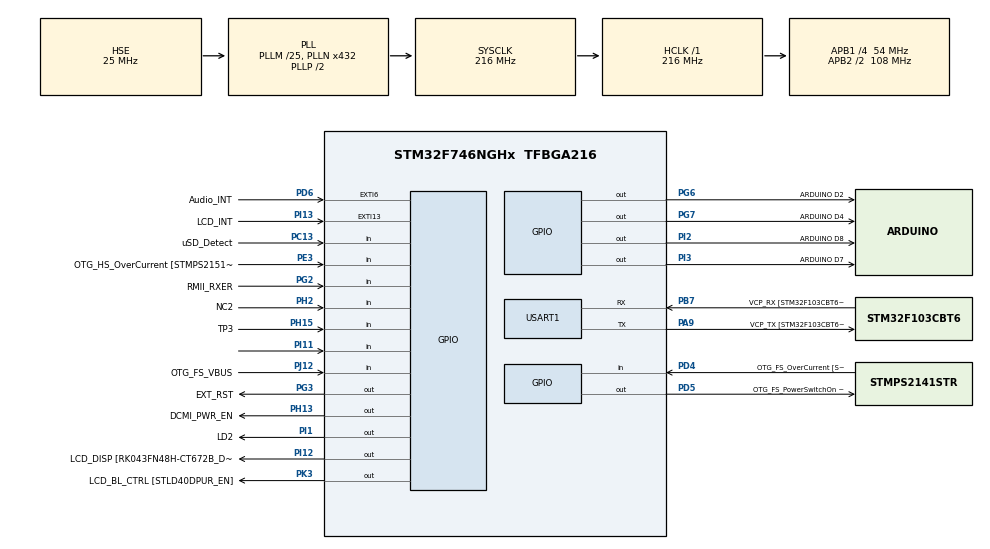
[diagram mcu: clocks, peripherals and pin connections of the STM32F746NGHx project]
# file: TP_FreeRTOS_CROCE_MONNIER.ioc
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FREERTOS.HEAP_NUMBER=4
FREERTOS.MEMORY_ALLOCATION=2
FREERTOS.Tasks01=defaultTask,0,128,StartDefaultTask,Default,NULL,Static,defaultTaskBuffer,defaultTaskControlBlock
FREERTOS.configLIBRARY_LOWEST_INTERRUPT_PRIORITY=5
FREERTOS.configTOTAL_HEAP_SIZE=160000
Mcu.Family=STM32F7
Mcu.Name=STM32F746NGHx
Mcu.Package=TFBGA216
NVIC.PriorityGroup=NVIC_PRIORITYGROUP_4
NVIC.USART1_IRQn=true\:5\:0\:true\:false\:true\:true\:true\:true\:true
PA0/WKUP.GPIO_Label=ARDUINO A0
PA0/WKUP.GPIO_Mode=GPIO_MODE_ANALOG
PA0/WKUP.GPIO_PuPd=GPIO_NOPULL
PA0/WKUP.Signal=ADCx_IN0
PA1.GPIO_Label=RMII_REF_CLK [LAN8742A-CZ-TR_REFCLK0]
PA1.Signal=ETH_REF_CLK
PA10.GPIO_Label=OTG_FS_ID
PA10.Signal=USB_OTG_FS_ID
PA11.GPIO_Label=OTG_FS_N
PA11.Signal=USB_OTG_FS_DM
PA12.GPIO_Label=OTG_FS_P
PA12.Signal=USB_OTG_FS_DP
PA13.GPIO_Label=SWDIO
PA13.Mode=Trace_Asynchronous_SW
PA13.Signal=SYS_JTMS-SWDIO
PA14.GPIO_Label=SWCLK
PA14.Mode=Trace_Asynchronous_SW
PA14.Signal=SYS_JTCK-SWCLK
PA15.GPIO_Label=ARDUINO PWM/D9
PA15.GPIO_ModeDefaultPP=GPIO_MODE_AF_PP
PA15.GPIO_PuPd=GPIO_NOPULL
PA15.GPIO_Speed=GPIO_SPEED_FREQ_LOW
PA15.Signal=S_TIM2_CH1_ETR
PA2.GPIO_Label=RMII_MDIO [LAN8742A-CZ-TR_MDIO]
PA2.Signal=ETH_MDIO
PA3.GPIO_Label=ULPI_D0 [USB3320C-EZK_D0]
PA3.Signal=USB_OTG_HS_ULPI_D0
PA4.GPIO_Label=DCMI_HSYNC
PA4.Signal=DCMI_HSYNC
PA5.GPIO_Label=ULPI_CLK [USB3320C-EZK_CLKOUT]
PA5.Signal=USB_OTG_HS_ULPI_CK
PA6.Signal=DCMI_PIXCLK
PA7.GPIO_Label=RMII_CRS_DV [LAN8742A-CZ-TR_CRS_DV]
PA7.Signal=ETH_CRS_DV
PA8.GPIO_Label=ARDUINO PWM/D10
PA8.GPIO_ModeDefaultPP=GPIO_MODE_AF_PP
PA8.GPIO_PuPd=GPIO_NOPULL
PA8.GPIO_Speed=GPIO_SPEED_FREQ_LOW
PA8.Signal=S_TIM1_CH1
PA9.GPIO_Label=VCP_TX [STM32F103CBT6_PA3]
PA9.GPIO_Mode=GPIO_MODE_AF_PP
PA9.GPIO_PuPd=GPIO_NOPULL
PA9.GPIO_Speed=GPIO_SPEED_FREQ_LOW
PA9.Mode=Asynchronous
PA9.Signal=USART1_TX
PB0.GPIO_Label=ULPI_D1 [USB3320C-EZK_D1]
PB0.Signal=USB_OTG_HS_ULPI_D1
PB1.GPIO_Label=ULPI_D2 [USB3320C-EZK_D2]
PB1.Signal=USB_OTG_HS_ULPI_D2
PB10.GPIO_Label=ULPI_D3 [USB3320C-EZK_D3]
PB10.Signal=USB_OTG_HS_ULPI_D3
PB11.GPIO_Label=ULPI_D4 [USB3320C-EZK_D4]
PB11.Signal=USB_OTG_HS_ULPI_D4
PB12.GPIO_Label=ULPI_D5 [USB3320C-EZK_D5]
PB12.Signal=USB_OTG_HS_ULPI_D5
PB13.GPIO_Label=ULPI_D6 [USB3320C-EZK_D6]
PB13.Signal=USB_OTG_HS_ULPI_D6
PB14.GPIO_Label=ARDUINO MISO/D12
PB14.GPIO_Mode=GPIO_MODE_AF_PP
PB14.GPIO_PuPd=GPIO_NOPULL
PB14.GPIO_Speed=GPIO_SPEED_FREQ_LOW
PB14.Signal=SPI2_MISO
PB15.GPIO_Label=ARDUINO MOSI/PWM/D11
PB15.GPIO_Mode=GPIO_MODE_AF_PP
PB15.GPIO_PuPd=GPIO_NOPULL
PB15.GPIO_Speed=GPIO_SPEED_FREQ_LOW
PB15.Signal=SPI2_MOSI
PB2.Signal=QUADSPI_CLK
PB3.GPIO_Label=SWO
PB3.Mode=Trace_Asynchronous_SW
PB3.Signal=SYS_JTDO-SWO
PB4.GPIO_Label=ARDUINO PWM/D3
PB4.GPIO_ModeDefaultPP=GPIO_MODE_AF_PP
PB4.GPIO_PuPd=GPIO_NOPULL
PB4.GPIO_Speed=GPIO_SPEED_FREQ_LOW
PB4.Signal=S_TIM3_CH1
PB5.GPIO_Label=ULPI_D7 [USB3320C-EZK_D7]
PB5.Signal=USB_OTG_HS_ULPI_D7
PB6.GPIO_Label=QSPI_NCS [N25Q128A13EF840E_S]
PB6.Signal=QUADSPI_BK1_NCS
PB7.GPIO_Label=VCP_RX [STM32F103CBT6_PA2]
PB7.GPIO_Mode=GPIO_MODE_AF_PP
PB7.GPIO_PuPd=GPIO_NOPULL
PB7.GPIO_Speed=GPIO_SPEED_FREQ_LOW
PB7.Mode=Asynchronous
PB7.Signal=USART1_RX
PB8.GPIO_Label=ARDUINO SCL/D15
PB8.GPIO_Mode=GPIO_MODE_AF_OD
PB8.GPIO_PuPd=GPIO_NOPULL
PB8.GPIO_Speed=GPIO_SPEED_FREQ_LOW
PB8.Signal=I2C1_SCL
PB9.GPIO_Label=ARDUINO SDA/D14
PB9.GPIO_Mode=GPIO_MODE_AF_OD
PB9.GPIO_PuPd=GPIO_NOPULL
PB9.GPIO_Speed=GPIO_SPEED_FREQ_LOW
PB9.Signal=I2C1_SDA
PC0.GPIO_Label=ULPI_STP [USB3320C-EZK_STP]
PC0.Signal=USB_OTG_HS_ULPI_STP
PC1.GPIO_Label=RMII_MDC [LAN8742A-CZ-TR_MDC]
PC1.Signal=ETH_MDC
PC10.GPIO_Label=SDMMC_D2
PC10.Signal=SDMMC1_D2
PC11.GPIO_Label=SDMMC_D3
PC11.Signal=SDMMC1_D3
PC12.GPIO_Label=SDMMC_CK
PC12.Signal=SDMMC1_CK
PC13.GPIO_Label=uSD_Detect
PC13.Signal=GPIO_Input
PC14/OSC32_IN.GPIO_Label=RCC_OSC32_IN
PC14/OSC32_IN.Signal=RCC_OSC32_IN
PC15/OSC32_OUT.GPIO_Label=RCC_OSC32_OUT
PC15/OSC32_OUT.Signal=RCC_OSC32_OUT
PC2.GPIO_Label=ULPI_DIR [USB3320C-EZK_DIR]
PC2.Signal=USB_OTG_HS_ULPI_DIR
PC3.GPIO_Label=FMC_SDCKE0 [MT48LC4M32B2B5-6A_CKE]
PC3.Signal=FMC_SDCKE0
PC4.GPIO_Label=RMII_RXD0 [LAN8742A-CZ-TR_RXD0]
PC4.Signal=ETH_RXD0
PC5.GPIO_Label=RMII_RXD1 [LAN8742A-CZ-TR_RXD1]
PC5.Signal=ETH_RXD1
PC6.GPIO_Label=ARDUINO TX/D1
PC6.Signal=USART6_TX
PC7.GPIO_Label=ARDUINO RX/D0
PC7.Signal=USART6_RX
PC8.Signal=SDMMC1_D0
PC9.Signal=SDMMC1_D1
PD0.GPIO_Label=FMC_D2 [MT48LC4M32B2B5-6A_DQ2]
PD0.Signal=FMC_D2_DA2
PD1.GPIO_Label=FMC_D3 [MT48LC4M32B2B5-6A_DQ3]
PD1.Signal=FMC_D3_DA3
PD10.GPIO_Label=FMC_D15 [MT48LC4M32B2B5-6A_DQ15]
PD10.Signal=FMC_D15_DA15
PD11.GPIO_Label=QSPI_D0 [N25Q128A13EF840E_DQ0]
PD11.Signal=QUADSPI_BK1_IO0
PD12.GPIO_Label=QSPI_D1 [N25Q128A13EF840E_DQ1]
PD12.Signal=QUADSPI_BK1_IO1
PD13.GPIO_Label=QSPI_D3 [N25Q128A13EF840E_DQ3]
PD13.Signal=QUADSPI_BK1_IO3
PD14.GPIO_Label=FMC_D0 [MT48LC4M32B2B5-6A_DQ0]
PD14.Signal=FMC_D0_DA0
PD15.GPIO_Label=FMC_D1 [MT48LC4M32B2B5-6A_DQ1]
PD15.Signal=FMC_D1_DA1
PD2.GPIO_Label=SDMMC_D0
PD2.Signal=SDMMC1_CMD
PD3.GPIO_Label=DCMI_D5
PD3.Signal=DCMI_D5
PD4.GPIO_Label=OTG_FS_OverCurrent [STMPS2141STR_Fault]
PD4.Signal=GPIO_Input
PD5.GPIO_Label=OTG_FS_PowerSwitchOn [STMPS2141STR_EN]
PD5.PinState=GPIO_PIN_SET
PD5.Signal=GPIO_Output
PD6.GPIO_Label=Audio_INT
PD6.GPIO_ModeDefaultEXTI=GPIO_MODE_EVT_RISING
PD6.Signal=GPXTI6
PD7.GPIO_Label=SPDIF_RX0 [74LVC1G04SE_4]
PD7.Signal=SPDIFRX_IN0
PD8.GPIO_Label=FMC_D13 [MT48LC4M32B2B5-6A_DQ13]
PD8.Signal=FMC_D13_DA13
PD9.GPIO_Label=FMC_D14 [MT48LC4M32B2B5-6A_DQ14]
PD9.Signal=FMC_D14_DA14
PE0.GPIO_Label=FMC_NBL0 [MT48LC4M32B2B5-6A_DQM0]
PE0.Signal=FMC_NBL0
PE1.GPIO_Label=FMC_NBL1 [MT48LC4M32B2B5-6A_DQM1]
PE1.Signal=FMC_NBL1
PE10.GPIO_Label=FMC_D7 [MT48LC4M32B2B5-6A_DQ7]
PE10.Signal=FMC_D7_DA7
PE11.GPIO_Label=FMC_D8 [MT48LC4M32B2B5-6A_DQ8]
PE11.Signal=FMC_D8_DA8
PE12.GPIO_Label=FMC_D9 [MT48LC4M32B2B5-6A_DQ9]
PE12.Signal=FMC_D9_DA9
PE13.GPIO_Label=FMC_D10 [MT48LC4M32B2B5-6A_DQ10]
PE13.Signal=FMC_D10_DA10
PE14.GPIO_Label=FMC_D11 [MT48LC4M32B2B5-6A_DQ11]
PE14.Signal=FMC_D11_DA11
PE15.GPIO_Label=FMC_D12 [MT48LC4M32B2B5-6A_DQ12]
PE15.Signal=FMC_D12_DA12
PE2.GPIO_Label=QSPI_D2 [N25Q128A13EF840E_DQ2]
PE2.Signal=QUADSPI_BK1_IO2
PE3.GPIO_Label=OTG_HS_OverCurrent [STMPS2151STR_FAULT]
PE3.Signal=GPIO_Input
PE4.GPIO_Label=LCD_B0 [RK043FN48H-CT672B_B0]
PE4.Signal=LTDC_B0
PE5.GPIO_Label=DCMI_D6
PE5.Signal=DCMI_D6
PE6.GPIO_Label=DCMI_D7
PE6.Signal=DCMI_D7
PE7.GPIO_Label=FMC_D4 [MT48LC4M32B2B5-6A_DQ4]
PE7.Signal=FMC_D4_DA4
PE8.GPIO_Label=FMC_D5 [MT48LC4M32B2B5-6A_DQ5]
PE8.Signal=FMC_D5_DA5
PE9.GPIO_Label=FMC_D6 [MT48LC4M32B2B5-6A_DQ6]
PE9.Signal=FMC_D6_DA6
PF0.GPIO_Label=FMC_A0 [MT48LC4M32B2B5-6A_A0]
PF0.Signal=FMC_A0
PF1.GPIO_Label=FMC_A1 [MT48LC4M32B2B5-6A_A1]
PF1.Signal=FMC_A1
PF10.GPIO_Label=ARDUINO A1
PF10.GPIO_Mode=GPIO_MODE_ANALOG
PF10.GPIO_PuPd=GPIO_NOPULL
PF10.Signal=ADC3_IN8
PF11.GPIO_Label=FMC_SDNRAS [MT48LC4M32B2B5-6A_RAS]
PF11.Signal=FMC_SDNRAS
PF12.GPIO_Label=FMC_A6 [MT48LC4M32B2B5-6A_A6]
PF12.Signal=FMC_A6
PF13.GPIO_Label=FMC_A7 [MT48LC4M32B2B5-6A_A7]
PF13.Signal=FMC_A7
PF14.GPIO_Label=FMC_A8 [MT48LC4M32B2B5-6A_A8]
PF14.Signal=FMC_A8
PF15.GPIO_Label=FMC_A9 [MT48LC4M32B2B5-6A_A9]
PF15.Signal=FMC_A9
PF2.GPIO_Label=FMC_A2 [MT48LC4M32B2B5-6A_A2]
PF2.Signal=FMC_A2
PF3.GPIO_Label=FMC_A3 [MT48LC4M32B2B5-6A_A3]
PF3.Signal=FMC_A3
PF4.GPIO_Label=FMC_A4 [MT48LC4M32B2B5-6A_A4]
PF4.Signal=FMC_A4
PF5.GPIO_Label=FMC_A5 [MT48LC4M32B2B5-6A_A5]
PF5.Signal=FMC_A5
PF6.GPIO_Label=ARDUINO A5
PF6.GPIO_Mode=GPIO_MODE_ANALOG
PF6.GPIO_PuPd=GPIO_NOPULL
PF6.Signal=ADC3_IN4
PF7.GPIO_Label=ARDUINO A4
PF7.GPIO_Mode=GPIO_MODE_ANALOG
PF7.GPIO_PuPd=GPIO_NOPULL
PF7.Signal=ADC3_IN5
PF8.GPIO_Label=ARDUINO A3
PF8.GPIO_Mode=GPIO_MODE_ANALOG
PF8.GPIO_PuPd=GPIO_NOPULL
PF8.Signal=ADC3_IN6
PF9.GPIO_Label=ARDUINO A2
PF9.GPIO_Mode=GPIO_MODE_ANALOG
PF9.GPIO_PuPd=GPIO_NOPULL
PF9.Signal=ADC3_IN7
PG0.GPIO_Label=FMC_A10 [MT48LC4M32B2B5-6A_A10]
PG0.Signal=FMC_A10
PG1.GPIO_Label=FMC_A11 [MT48LC4M32B2B5-6A_A11]
PG1.Signal=FMC_A11
PG10.GPIO_Label=SAI2_SDB [WM8994ECS/R_ADCDAT1]
PG10.Signal=SAI2_SD_B
PG11.GPIO_Label=RMII_TX_EN [LAN8742A-CZ-TR_TXEN]
PG11.Signal=ETH_TX_EN
PG12.GPIO_Label=LCD_B4 [RK043FN48H-CT672B_B4]
PG12.Signal=LTDC_B4
PG13.GPIO_Label=RMII_TXD0 [LAN8742A-CZ-TR_TXD0]
PG13.Signal=ETH_TXD0
PG14.GPIO_Label=RMII_TXD1 [LAN8742A-CZ-TR_TXD1]
PG14.Signal=ETH_TXD1
PG15.GPIO_Label=FMC_SDNCAS [MT48LC4M32B2B5-6A_CAS]
PG15.Signal=FMC_SDNCAS
PG2.GPIO_Label=RMII_RXER
PG2.Signal=GPIO_Input
PG3.GPIO_Label=EXT_RST
PG3.Signal=GPIO_Output
PG4.GPIO_Label=FMC_BA0 [MT48LC4M32B2B5-6A_BA0]
PG4.Signal=FMC_A14_BA0
PG5.GPIO_Label=FMC_BA1 [MT48LC4M32B2B5-6A_BA1]
PG5.Signal=FMC_A15_BA1
PG6.GPIO_Label=ARDUINO D2
PG6.Signal=GPIO_Output
PG7.GPIO_Label=ARDUINO D4
PG7.Signal=GPIO_Output
PG8.GPIO_Label=FMC_SDCLK [MT48LC4M32B2B5-6A_CLK]
PG8.Signal=FMC_SDCLK
PG9.GPIO_Label=DCMI_VSYNC
PG9.Signal=DCMI_VSYNC
PH0/OSC_IN.GPIO_Label=OSC_25M [NZ2520SB-25.00M_OUT]
PH0/OSC_IN.Mode=HSE-External-Oscillator
PH0/OSC_IN.Signal=RCC_OSC_IN
PH1/OSC_OUT.Mode=HSE-External-Oscillator
PH1/OSC_OUT.Signal=RCC_OSC_OUT
PH10.GPIO_Label=DCMI_D1
PH10.Signal=DCMI_D1
PH11.GPIO_Label=DCMI_D2
PH11.Signal=DCMI_D2
PH12.GPIO_Label=DCMI_D3
PH12.Signal=DCMI_D3
PH13.GPIO_Label=DCMI_PWR_EN
PH13.Signal=GPIO_Output
PH14.GPIO_Label=DCMI_D4
PH14.Signal=DCMI_D4
PH15.GPIO_Label=TP3
PH15.Signal=GPIO_Input
PH2.GPIO_Label=NC2
PH2.Signal=GPIO_Input
PH3.GPIO_Label=FMC_SDNE0 [MT48LC4M32B2B5-6A_CS]
PH3.Signal=FMC_SDNE0
PH4.GPIO_Label=ULPI_NXT [USB3320C-EZK_NXT]
PH4.Signal=USB_OTG_HS_ULPI_NXT
PH5.GPIO_Label=FMC_SDNME [MT48LC4M32B2B5-6A_WE]
PH5.Signal=FMC_SDNWE
PH6.GPIO_Label=ARDUINO PWM/D6
PH6.Signal=S_TIM12_CH1
PH7.GPIO_Label=LCD_SCL [RK043FN48H-CT672B_SCL]
PH7.Signal=I2C3_SCL
PH8.GPIO_Label=LCD_SDA [RK043FN48H-CT672B_SDA]
PH8.Signal=I2C3_SDA
PH9.GPIO_Label=DCMI_D0
PH9.Signal=DCMI_D0
PI0.GPIO_Label=ARDUINO PWM/CS/D5
PI0.GPIO_ModeDefaultPP=GPIO_MODE_AF_PP
PI0.GPIO_PuPd=GPIO_NOPULL
PI0.GPIO_Speed=GPIO_SPEED_FREQ_LOW
PI0.Signal=S_TIM5_CH4
PI1.GPIO_Label=LD2
PI1.PinState=GPIO_PIN_SET
PI1.Signal=GPIO_Output
PI10.GPIO_Label=LCD_HSYNC [RK043FN48H-CT672B_HSYNC]
PI10.Signal=LTDC_HSYNC
PI11.Signal=GPIO_Input
PI12.GPIO_Label=LCD_DISP [RK043FN48H-CT672B_DISP] 
PI12.Signal=GPIO_Output
PI13.GPIO_Label=LCD_INT
PI13.GPIO_ModeDefaultEXTI=GPIO_MODE_EVT_RISING
PI13.Signal=GPXTI13
PI14.GPIO_Label=LCD_CLK [RK043FN48H-CT672B_CLK]
PI14.Signal=LTDC_CLK
PI15.GPIO_Label=LCD_R0 [RK043FN48H-CT672B_R0]
PI15.Signal=LTDC_R0
PI2.GPIO_Label=ARDUINO D8
PI2.Signal=GPIO_Output
PI3.GPIO_Label=ARDUINO D7
PI3.Signal=GPIO_Output
PI4.GPIO_Label=SAI2_MCLKA [WM8994ECS/R_MCLK1]
PI4.Signal=SAI2_MCLK_A
PI5.GPIO_Label=SAI2_SCKA [WM8994ECS/R_BCLK1]
PI5.Signal=SAI2_SCK_A
PI6.GPIO_Label=SAI2_SDA [WM8994ECS/R_DACDAT1]
PI6.Signal=SAI2_SD_A
PI7.GPIO_Label=SAI2_FSA [WM8994ECS/R_LRCLK1]
PI7.Signal=SAI2_FS_A
PI8.GPIO_Label=NC1 [TP2]
PI8.Signal=RTC_TS
PI9.GPIO_Label=LCD_VSYNC [RK043FN48H-CT672B_VSYNC]
PI9.Signal=LTDC_VSYNC
PJ0.GPIO_Label=LCD_R1 [RK043FN48H-CT672B_R1]
PJ0.Signal=LTDC_R1
PJ1.GPIO_Label=LCD_R2 [RK043FN48H-CT672B_R2]
PJ1.Signal=LTDC_R2
PJ10.GPIO_Label=LCD_G3 [RK043FN48H-CT672B_G3]
PJ10.Signal=LTDC_G3
PJ11.GPIO_Label=LCD_G4 [RK043FN48H-CT672B_G4]
PJ11.Signal=LTDC_G4
PJ12.GPIO_Label=OTG_FS_VBUS
PJ12.Signal=GPIO_Input
PJ13.GPIO_Label=LCD_B1 [RK043FN48H-CT672B_B1]
PJ13.Signal=LTDC_B1
PJ14.GPIO_Label=LCD_B2 [RK043FN48H-CT672B_B2]
PJ14.Signal=LTDC_B2
PJ15.GPIO_Label=LCD_B3 [RK043FN48H-CT672B_B3]
PJ15.Signal=LTDC_B3
PJ2.GPIO_Label=LCD_R3 [RK043FN48H-CT672B_R3]
PJ2.Signal=LTDC_R3
PJ3.GPIO_Label=LCD_R4 [RK043FN48H-CT672B_R4]
PJ3.Signal=LTDC_R4
PJ4.GPIO_Label=LCD_R5 [RK043FN48H-CT672B_R5]
PJ4.Signal=LTDC_R5
PJ5.GPIO_Label=LCD_R6 [RK043FN48H-CT672B_R6]
PJ5.Signal=LTDC_R6
PJ6.GPIO_Label=LCD_R7 [RK043FN48H-CT672B_R7]
PJ6.Signal=LTDC_R7
PJ7.GPIO_Label=LCD_G0 [RK043FN48H-CT672B_G0]
PJ7.Signal=LTDC_G0
PJ8.GPIO_Label=LCD_G1 [RK043FN48H-CT672B_G1]
PJ8.Signal=LTDC_G1
PJ9.GPIO_Label=LCD_G2 [RK043FN48H-CT672B_G2]
PJ9.Signal=LTDC_G2
PK0.GPIO_Label=LCD_G5 [RK043FN48H-CT672B_G5]
PK0.Signal=LTDC_G5
PK1.GPIO_Label=LCD_G6 [RK043FN48H-CT672B_G6]
PK1.Signal=LTDC_G6
PK2.GPIO_Label=LCD_G7 [RK043FN48H-CT672B_G7]
PK2.Signal=LTDC_G7
PK3.GPIO_Label=LCD_BL_CTRL [STLD40DPUR_EN]
PK3.Signal=GPIO_Output
PK4.GPIO_Label=LCD_B5 [RK043FN48H-CT672B_B5]
PK4.Signal=LTDC_B5
PK5.GPIO_Label=LCD_B6 [RK043FN48H-CT672B_B6]
PK5.Signal=LTDC_B6
PK6.GPIO_Label=LCD_B7 [RK043FN48H-CT672B_B7]
PK6.Signal=LTDC_B7
PK7.GPIO_Label=LCD_DE [RK043FN48H-CT672B_DE]
PK7.Signal=LTDC_DE
ProjectManager.HeapSize=0x200
ProjectManager.StackSize=0x400
ProjectManager.TargetToolchain=STM32CubeIDE
RCC.AHBFreq_Value=216000000
RCC.APB1CLKDivider=RCC_HCLK_DIV4
RCC.APB1Freq_Value=54000000
RCC.APB1TimFreq_Value=108000000
RCC.APB2CLKDivider=RCC_HCLK_DIV2
RCC.APB2Freq_Value=108000000
RCC.APB2TimFreq_Value=216000000
RCC.CortexFreq_Value=216000000
RCC.HCLKFreq_Value=216000000
RCC.HSE_VALUE=25000000
RCC.HSI_VALUE=16000000
RCC.LSE_VALUE=32768
RCC.PLLM=25
RCC.PLLN=432
RCC.PLLSourceVirtual=RCC_PLLSOURCE_HSE
RCC.SYSCLKFreq_VALUE=216000000
RCC.SYSCLKSource=RCC_SYSCLKSOURCE_PLLCLK
RCC.USBFreq_Value=216000000
RCC.VCOOutputFreq_Value=432000000
SH.ADCx_IN0.0=ADC3_IN0
SH.FMC_A0.0=FMC_A0
SH.FMC_A1.0=FMC_A1
SH.FMC_A10.0=FMC_A10
SH.FMC_A11.0=FMC_A11
SH.FMC_A14_BA0.0=FMC_BA0
SH.FMC_A15_BA1.0=FMC_BA1
SH.FMC_A2.0=FMC_A2
SH.FMC_A3.0=FMC_A3
SH.FMC_A4.0=FMC_A4
SH.FMC_A5.0=FMC_A5
SH.FMC_A6.0=FMC_A6
SH.FMC_A7.0=FMC_A7
SH.FMC_A8.0=FMC_A8
SH.FMC_A9.0=FMC_A9
SH.FMC_D0_DA0.0=FMC_D0
SH.FMC_D10_DA10.0=FMC_D10
SH.FMC_D11_DA11.0=FMC_D11
SH.FMC_D12_DA12.0=FMC_D12
SH.FMC_D13_DA13.0=FMC_D13
SH.FMC_D14_DA14.0=FMC_D14
SH.FMC_D15_DA15.0=FMC_D15
SH.FMC_D1_DA1.0=FMC_D1
SH.FMC_D2_DA2.0=FMC_D2
SH.FMC_D3_DA3.0=FMC_D3
SH.FMC_D4_DA4.0=FMC_D4
SH.FMC_D5_DA5.0=FMC_D5
SH.FMC_D6_DA6.0=FMC_D6
SH.FMC_D7_DA7.0=FMC_D7
SH.FMC_D8_DA8.0=FMC_D8
SH.FMC_D9_DA9.0=FMC_D9
SH.FMC_NBL0.0=FMC_NBL0
SH.FMC_NBL1.0=FMC_NBL1
SH.FMC_SDCLK.0=FMC_SDCLK
SH.FMC_SDNCAS.0=FMC_SDNCAS
SH.FMC_SDNRAS.0=FMC_SDNRAS
SH.FMC_SDNWE.0=FMC_SDNWE
SH.S_TIM12_CH1.0=TIM12_CH1
SH.S_TIM1_CH1.0=TIM1_CH1
SH.S_TIM2_CH1_ETR.0=TIM2_CH1
SH.S_TIM3_CH1.0=TIM3_CH1
SH.S_TIM5_CH4.0=TIM5_CH4
USART1.VirtualMode-Asynchronous=VM_ASYNC
VP_FREERTOS_VS_CMSIS_V1.Mode=CMSIS_V1
board=STM32F746G-DISCO

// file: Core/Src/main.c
/* USER CODE BEGIN Header */
/**
  ******************************************************************************
  * @file           : main.c
  * @brief          : Main program body
  ******************************************************************************
  * @attention
  *
  * Copyright (c) 2025 STMicroelectronics.
  * All rights reserved.
  *
  * This software is licensed under terms that can be found in the LICENSE file
  * in the root directory of this software component.
  * If no LICENSE file comes with this software, it is provided AS-IS.
  *
  ******************************************************************************
  */
/* USER CODE END Header */
#include "main.h"
#include "cmsis_os.h"
#include "usart.h"
#include "gpio.h"

/* USER CODE BEGIN Includes */
#include "FreeRTOS.h"
#include "stdio.h"
#include "shell.h"
#include "drv_uart1.h"
#include <stdbool.h>
/* USER CODE END Includes */

void SystemClock_Config(void);
void MX_FREERTOS_Init(void);

/* USER CODE BEGIN 0 */

#define STACK_SIZE 1000
#define DELAY_1 2000
#define DELAY_2 1500

#define Q_TEST_LENGTH 8
#define Q_TEST_SIZE 4 // sizeof(uint8_t)

QueueHandle_t q_SHELL = NULL;
QueueHandle_t q_SPAM = NULL;

h_shell_t var_shell;

void TaskShell(void* p);
void TaskLED(void* p);
void TaskSPAM(void* p);
void TaskOverFlow(void* p);

// minicom -D /dev/ttyACM-1
// ctrl+a puis q

int __io_putchar(int ch) {
HAL_UART_Transmit(&huart1, (uint8_t *)&ch, 1, HAL_MAX_DELAY);
return ch;
}

int fct_led(h_shell_t *h, int argc, char ** argv)
{
	//printf("fonction led\r\n");
	if (uxQueueSpacesAvailable (q_SHELL) <= 0){
		printf("pb taille queue\r\n");
		Error_Handler();
	}
	else{
		//printf("send : %s \r\n",argv[1]);
		xQueueSend(q_SHELL,(void *)&argv[1],portMAX_DELAY);
	}

	return 0;
}

int fct_SPAM(h_shell_t *h, int argc, char ** argv)
{
	if (uxQueueSpacesAvailable (q_SPAM) <= 0){
		printf("pb taille queue\r\n");
		Error_Handler();
	}
	else{
		//printf("send : %s \r\n",argv[1]);
		xQueueSend(q_SPAM,(void *)&argv[1],portMAX_DELAY);
	}

	return 0;
}

void CodeShell(void* p){
	while(1){
		printf("Task Shell");
		shell_run(&var_shell);
	}
}

void CodeLED(void* p){
	int val_to_process = 500;
	int val_blink;
	bool flag = RESET; //evite d'éteindre en boucle
	while(1){

		if(xQueuePeek(q_SHELL,(void *)  500, 0)==pdTRUE){
			xQueueReceive(q_SHELL, (void *)&val_to_process,0);
			if(atoi(val_to_process)<0){
				printf("wrong argument !\r\n");
				flag = RESET;
			}
			else{
				val_blink = atoi(val_to_process);
				printf("LED Blink each : %d ms\r\n",val_blink);
				flag = SET;
			}
		}
		if(val_blink == 0 && flag == SET){
			HAL_GPIO_WritePin(LD2_GPIO_Port, LD2_Pin, RESET);
			flag = RESET;
		}
		if(val_blink > 0 && flag == SET){
			HAL_GPIO_TogglePin(LD2_GPIO_Port, LD2_Pin);
			vTaskDelay(val_blink);
		}
	}
}

void CodeSPAM(void* p){
	int val_to_process = 500;
	bool flag = RESET;
	static int cpt = 0;
	while(1){

		if(xQueuePeek(q_SPAM, (void *) 500, 0)==pdTRUE){
			xQueueReceive(q_SPAM, (void *)&val_to_process,0);
			printf("received : %d \r\n",atoi(val_to_process));
			cpt = atoi(val_to_process);
			if(cpt<=0){
				printf("wrong argument !\r\n");
				flag = RESET;
			}
			else{
				flag = SET;
			}
		}
		if(cpt>0 && flag == SET){
			printf("SPAM : %d \r\n",cpt);
						//HAL_GPIO_TogglePin(LD2_GPIO_Port, LD2_Pin);
						cpt--;
						vTaskDelay(200);
		}
		if (cpt==0 && flag == SET){
			printf("End Function Serial SPAM\r\n");
			flag = RESET;
		}
	}
}

void CodeOverFlow(void* p){
	//char* message = "hello";
	static int i = 0;
	while(1){
		//xQueueSend(q_SPAM,(void *)message,portMAX_DELAY);
		//printf("send : %d \r\n",i);
		//i++
		//vTaskDelay(2000);
	}
}

/* USER CODE END 0 */

int main(void)
{

  /* USER CODE BEGIN 1 */
	//xTaskCreate(TaskCode1);
	printf("TEST\r\n");
	BaseType_t xReturned;
	TaskHandle_t xHandle1 = NULL;
	TaskHandle_t xHandle2 = NULL;
	TaskHandle_t xHandle3 = NULL;
	TaskHandle_t xHandle4 = NULL;

	q_SHELL = xQueueCreate(Q_TEST_LENGTH, Q_TEST_SIZE);
	q_SPAM = xQueueCreate(Q_TEST_LENGTH, Q_TEST_SIZE);

	xReturned = xTaskCreate(
	CodeShell, // Function that implements the task.
	"TaskShell", // Text name for the task.
	STACK_SIZE, // Stack size in words, not bytes.
	(void *) DELAY_1, // Parameter passed into the task.
	1,//Priority at which the task is created.
	&xHandle1 ); // Used to pass out the created task's handle.

	xReturned = xTaskCreate(
	CodeLED, // Function that implements the task.
	"TaskLED", // Text name for the task.
	STACK_SIZE, // Stack size in words, not bytes.
	(void *) DELAY_2, // Parameter passed into the task.
	1,// Priority at which the task is created.
	&xHandle2 ); // Used to pass out the created task's handle.

	xReturned = xTaskCreate(
	CodeSPAM, // Function that implements the task.
	"TaskSPAM", // Text name for the task.
	STACK_SIZE, // Stack size in words, not bytes.
	(void *) DELAY_2, // Parameter passed into the task.
	1,// Priority at which the task is created.
	&xHandle3 ); // Used to pass out the created task's handle.

	xReturned = xTaskCreate(
	CodeOverFlow, // Function that implements the task.
	"TaskOverFlow", // Text name for the task.
	STACK_SIZE, // Stack size in words, not bytes.
	(void *) DELAY_2, // Parameter passed into the task.
	1,// Priority at which the task is created.
	&xHandle4 ); // Used to pass out the created task's handle.*/

	if (xReturned != pdPASS){
		Error_Handler();
	}

  /* USER CODE END 1 */

  /* MCU Configuration--------------------------------------------------------*/

  /* Reset of all peripherals, Initializes the Flash interface and the Systick. */
  HAL_Init();

  /* Configure the system clock */
  SystemClock_Config();

  /* Initialize all configured peripherals */
  MX_GPIO_Init();
  MX_USART1_UART_Init();
  /* USER CODE BEGIN 2 */

	var_shell.drv.receive = drv_uart1_receive;
	var_shell.drv.transmit = drv_uart1_transmit;

  shell_init(&var_shell);
  shell_add(&var_shell,'l', fct_led, "Fonction de clignotement de la LED");
  shell_add(&var_shell,'s', fct_SPAM, "Fonction de SPAM");

  /* USER CODE END 2 */

  /* Call init function for freertos objects (in cmsis_os2.c) */
  MX_FREERTOS_Init();

  /* Start scheduler */
  osKernelStart();

  /* We should never get here as control is now taken by the scheduler */

  /* Infinite loop */
  while (1)
  {

  }
}

void SystemClock_Config(void)
{
  RCC_OscInitTypeDef RCC_OscInitStruct = {0};
  RCC_ClkInitTypeDef RCC_ClkInitStruct = {0};

  /** Configure the main internal regulator output voltage
  */
  __HAL_RCC_PWR_CLK_ENABLE();
  __HAL_PWR_VOLTAGESCALING_CONFIG(PWR_REGULATOR_VOLTAGE_SCALE1);

  /** Initializes the RCC Oscillators according to the specified parameters
  * in the RCC_OscInitTypeDef structure.
  */
  RCC_OscInitStruct.OscillatorType = RCC_OSCILLATORTYPE_HSE;
  RCC_OscInitStruct.HSEState = RCC_HSE_ON;
  RCC_OscInitStruct.PLL.PLLState = RCC_PLL_ON;
  RCC_OscInitStruct.PLL.PLLSource = RCC_PLLSOURCE_HSE;
  RCC_OscInitStruct.PLL.PLLM = 25;
  RCC_OscInitStruct.PLL.PLLN = 432;
  RCC_OscInitStruct.PLL.PLLP = RCC_PLLP_DIV2;
  RCC_OscInitStruct.PLL.PLLQ = 2;
  if (HAL_RCC_OscConfig(&RCC_OscInitStruct) != HAL_OK)
  {
    Error_Handler();
  }

  /** Activate the Over-Drive mode
  */
  if (HAL_PWREx_EnableOverDrive() != HAL_OK)
  {
    Error_Handler();
  }

  /** Initializes the CPU, AHB and APB buses clocks
  */
  RCC_ClkInitStruct.ClockType = RCC_CLOCKTYPE_HCLK|RCC_CLOCKTYPE_SYSCLK
                              |RCC_CLOCKTYPE_PCLK1|RCC_CLOCKTYPE_PCLK2;
  RCC_ClkInitStruct.SYSCLKSource = RCC_SYSCLKSOURCE_PLLCLK;
  RCC_ClkInitStruct.AHBCLKDivider = RCC_SYSCLK_DIV1;
  RCC_ClkInitStruct.APB1CLKDivider = RCC_HCLK_DIV4;
  RCC_ClkInitStruct.APB2CLKDivider = RCC_HCLK_DIV2;

  if (HAL_RCC_ClockConfig(&RCC_ClkInitStruct, FLASH_LATENCY_7) != HAL_OK)
  {
    Error_Handler();
  }
}

void Error_Handler(void)
{
  __disable_irq();
  while (1)
  {
  }
}
